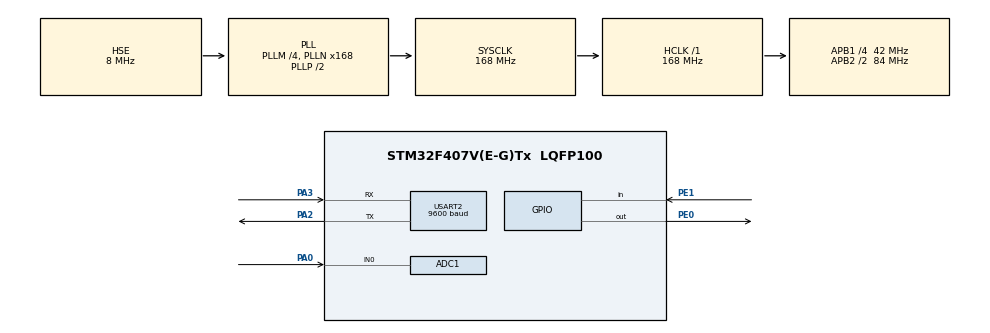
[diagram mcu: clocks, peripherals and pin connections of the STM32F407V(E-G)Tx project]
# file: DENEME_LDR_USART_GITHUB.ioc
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Mcu.Family=STM32F4
RCC.PLLSourceVirtual=RCC_PLLSOURCE_HSE
PH0-OSC_IN.Signal=RCC_OSC_IN
Dma.ADC1.0.Instance=DMA2_Stream0
RCC.CortexFreq_Value=168000000
ADC1.Rank-0\#ChannelRegularConversion=1
ADC1.ContinuousConvMode=ENABLE
RCC.APB1CLKDivider=RCC_HCLK_DIV4
USART2.BaudRate=9600
RCC.SYSCLKSource=RCC_SYSCLKSOURCE_PLLCLK
ProjectManager.StackSize=0x400
PA0-WKUP.Signal=ADCx_IN0
PA3.Mode=Asynchronous
Dma.ADC1.0.PeriphDataAlignment=DMA_PDATAALIGN_HALFWORD
ProjectManager.TargetToolchain=STM32CubeIDE
Dma.ADC1.0.Mode=DMA_CIRCULAR
RCC.HCLKFreq_Value=168000000
ADC1.Resolution=ADC_RESOLUTION_8B
Dma.ADC1.0.Priority=DMA_PRIORITY_HIGH
RCC.APB2TimFreq_Value=168000000
Dma.ADC1.0.Direction=DMA_PERIPH_TO_MEMORY
ADC1.InjNumberOfConversion=0
NVIC.DMA2_Stream0_IRQn=true\:0\:0\:false\:false\:true\:false\:true
PE1.Signal=GPIO_Input
RCC.LSE_VALUE=32768
Dma.ADC1.0.MemDataAlignment=DMA_MDATAALIGN_HALFWORD
RCC.AHBFreq_Value=168000000
PH0-OSC_IN.Mode=HSE-External-Oscillator
ADC1.Channel-0\#ChannelRegularConversion=ADC_CHANNEL_0
RCC.HSE_VALUE=8000000
ADC1.ScanConvMode=DISABLE
board=custom
RCC.VCOOutputFreq_Value=336000000
RCC.APB2Freq_Value=84000000
Dma.ADC1.0.PeriphInc=DMA_PINC_DISABLE
PH1-OSC_OUT.Signal=RCC_OSC_OUT
SH.ADCx_IN0.0=ADC1_IN0,IN0
ADC1.DMAContinuousRequests=ENABLE
PE0.Signal=GPIO_Output
Mcu.Name=STM32F407V(E-G)Tx
ADC1.SamplingTime-0\#ChannelRegularConversion=ADC_SAMPLETIME_112CYCLES
PA2.Signal=USART2_TX
PH1-OSC_OUT.Mode=HSE-External-Oscillator
RCC.48MHZClocksFreq_Value=84000000
RCC.SYSCLKFreq_VALUE=168000000
Mcu.Package=LQFP100
ADC1.master=1
USART2.VirtualMode=VM_ASYNC
Dma.ADC1.0.MemInc=DMA_MINC_ENABLE
ProjectManager.HeapSize=0x200
RCC.HSI_VALUE=16000000
NVIC.PriorityGroup=NVIC_PRIORITYGROUP_4
ADC1.NbrOfConversionFlag=1
RCC.APB2CLKDivider=RCC_HCLK_DIV2
RCC.PLLM=4
RCC.PLLN=168
RCC.APB1TimFreq_Value=84000000
PA2.Mode=Asynchronous
Dma.ADC1.0.FIFOMode=DMA_FIFOMODE_DISABLE
RCC.APB1Freq_Value=42000000
Dma.Request0=ADC1
PA3.Signal=USART2_RX

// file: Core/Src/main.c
/* USER CODE BEGIN Header */
/**
  ******************************************************************************
  * @file           : main.c
  * @brief          : Main program body
  ******************************************************************************
  * @attention
  *
  * <h2><center>&copy; Copyright (c) 2021 STMicroelectronics.
  * All rights reserved.</center></h2>
  *
  * This software component is licensed by ST under BSD 3-Clause license,
  * the "License"; You may not use this file except in compliance with the
  * License. You may obtain a copy of the License at:
  *                        opensource.org/licenses/BSD-3-Clause
  *
  ******************************************************************************
  */
/* USER CODE END Header */
#include "main.h"

/* USER CODE BEGIN Includes */
#include <stdbool.h>
#include <stdio.h>
/* USER CODE END Includes */

ADC_HandleTypeDef hadc1;
DMA_HandleTypeDef hdma_adc1;

UART_HandleTypeDef huart2;

/* USER CODE BEGIN PV */
char tx_data[100];
uint8_t adc_deger;
uint8_t ldr_ch0 ;
bool durum = true ;

/* USER CODE END PV */

void SystemClock_Config(void);
static void MX_GPIO_Init(void);
static void MX_DMA_Init(void);
static void MX_ADC1_Init(void);
static void MX_USART2_UART_Init(void);

/* USER CODE BEGIN 0 */
void kontrol()
{
	if(ldr_ch0 < 40)
	{
		if (durum)
		{
			durum = false ;
			HAL_UART_Transmit(&huart2, (uint8_t *)tx_data, sprintf(tx_data,"Ortam karanlik.Led yakmak icin butona basiniz\n\n"), 100);
		}
		if (HAL_GPIO_ReadPin(GPIOE, GPIO_PIN_1))
		{
			while(HAL_GPIO_ReadPin(GPIOE, GPIO_PIN_1));
			HAL_Delay(200);
			durum = false ;
			HAL_GPIO_WritePin(GPIOE, GPIO_PIN_0, GPIO_PIN_SET);
			HAL_UART_Transmit(&huart2, (uint8_t *)tx_data,sprintf(tx_data,"Led yandi\n\n"), 100);
		}
	}
	else
	{
		if(!durum)
		{
			HAL_GPIO_WritePin(GPIOE, GPIO_PIN_0, GPIO_PIN_RESET);
			durum = true ;
			HAL_UART_Transmit(&huart2, (uint8_t *)tx_data, sprintf(tx_data,"Ortam aydinlik oldugu icin led kapandi.\n\n"), 100);
			HAL_GPIO_WritePin(GPIOE, GPIO_PIN_0, GPIO_PIN_RESET);
		}
	}
}
/* USER CODE END 0 */

int main(void)
{

  /* MCU Configuration--------------------------------------------------------*/

  /* Reset of all peripherals, Initializes the Flash interface and the Systick. */
  HAL_Init();

  /* Configure the system clock */
  SystemClock_Config();

  /* Initialize all configured peripherals */
  MX_GPIO_Init();
  MX_DMA_Init();
  MX_ADC1_Init();
  MX_USART2_UART_Init();
  /* USER CODE BEGIN 2 */
  HAL_ADC_Start_DMA(&hadc1, (uint32_t *)&adc_deger, 1); //ADC okumayı DMA yı kullanarak yaptım.
  /* USER CODE END 2 */

  /* Infinite loop */
  while (1)
  {

    /* USER CODE BEGIN 3 */
	  ldr_ch0 = adc_deger ;
	  kontrol();
	  //Projenin Videosu -------> https://youtu.be/apKw5WT4y-0

  }
  /* USER CODE END 3 */
}

void SystemClock_Config(void)
{
  RCC_OscInitTypeDef RCC_OscInitStruct = {0};
  RCC_ClkInitTypeDef RCC_ClkInitStruct = {0};

  /** Configure the main internal regulator output voltage
  */
  __HAL_RCC_PWR_CLK_ENABLE();
  __HAL_PWR_VOLTAGESCALING_CONFIG(PWR_REGULATOR_VOLTAGE_SCALE1);
  /** Initializes the RCC Oscillators according to the specified parameters
  * in the RCC_OscInitTypeDef structure.
  */
  RCC_OscInitStruct.OscillatorType = RCC_OSCILLATORTYPE_HSE;
  RCC_OscInitStruct.HSEState = RCC_HSE_ON;
  RCC_OscInitStruct.PLL.PLLState = RCC_PLL_ON;
  RCC_OscInitStruct.PLL.PLLSource = RCC_PLLSOURCE_HSE;
  RCC_OscInitStruct.PLL.PLLM = 4;
  RCC_OscInitStruct.PLL.PLLN = 168;
  RCC_OscInitStruct.PLL.PLLP = RCC_PLLP_DIV2;
  RCC_OscInitStruct.PLL.PLLQ = 4;
  if (HAL_RCC_OscConfig(&RCC_OscInitStruct) != HAL_OK)
  {
    Error_Handler();
  }
  /** Initializes the CPU, AHB and APB buses clocks
  */
  RCC_ClkInitStruct.ClockType = RCC_CLOCKTYPE_HCLK|RCC_CLOCKTYPE_SYSCLK
                              |RCC_CLOCKTYPE_PCLK1|RCC_CLOCKTYPE_PCLK2;
  RCC_ClkInitStruct.SYSCLKSource = RCC_SYSCLKSOURCE_PLLCLK;
  RCC_ClkInitStruct.AHBCLKDivider = RCC_SYSCLK_DIV1;
  RCC_ClkInitStruct.APB1CLKDivider = RCC_HCLK_DIV4;
  RCC_ClkInitStruct.APB2CLKDivider = RCC_HCLK_DIV2;

  if (HAL_RCC_ClockConfig(&RCC_ClkInitStruct, FLASH_LATENCY_5) != HAL_OK)
  {
    Error_Handler();
  }
}

static void MX_ADC1_Init(void)
{

  ADC_ChannelConfTypeDef sConfig = {0};

  /** Configure the global features of the ADC (Clock, Resolution, Data Alignment and number of conversion)
  */
  hadc1.Instance = ADC1;
  hadc1.Init.ClockPrescaler = ADC_CLOCK_SYNC_PCLK_DIV4;
  hadc1.Init.Resolution = ADC_RESOLUTION_8B;
  hadc1.Init.ScanConvMode = DISABLE;
  hadc1.Init.ContinuousConvMode = ENABLE;
  hadc1.Init.DiscontinuousConvMode = DISABLE;
  hadc1.Init.ExternalTrigConvEdge = ADC_EXTERNALTRIGCONVEDGE_NONE;
  hadc1.Init.ExternalTrigConv = ADC_SOFTWARE_START;
  hadc1.Init.DataAlign = ADC_DATAALIGN_RIGHT;
  hadc1.Init.NbrOfConversion = 1;
  hadc1.Init.DMAContinuousRequests = ENABLE;
  hadc1.Init.EOCSelection = ADC_EOC_SINGLE_CONV;
  if (HAL_ADC_Init(&hadc1) != HAL_OK)
  {
    Error_Handler();
  }
  /** Configure for the selected ADC regular channel its corresponding rank in the sequencer and its sample time.
  */
  sConfig.Channel = ADC_CHANNEL_0;
  sConfig.Rank = 1;
  sConfig.SamplingTime = ADC_SAMPLETIME_112CYCLES;
  if (HAL_ADC_ConfigChannel(&hadc1, &sConfig) != HAL_OK)
  {
    Error_Handler();
  }

}

static void MX_USART2_UART_Init(void)
{

  huart2.Instance = USART2;
  huart2.Init.BaudRate = 9600;
  huart2.Init.WordLength = UART_WORDLENGTH_8B;
  huart2.Init.StopBits = UART_STOPBITS_1;
  huart2.Init.Parity = UART_PARITY_NONE;
  huart2.Init.Mode = UART_MODE_TX_RX;
  huart2.Init.HwFlowCtl = UART_HWCONTROL_NONE;
  huart2.Init.OverSampling = UART_OVERSAMPLING_16;
  if (HAL_UART_Init(&huart2) != HAL_OK)
  {
    Error_Handler();
  }

}

static void MX_DMA_Init(void)
{

  /* DMA controller clock enable */
  __HAL_RCC_DMA2_CLK_ENABLE();

  /* DMA interrupt init */
  /* DMA2_Stream0_IRQn interrupt configuration */
  HAL_NVIC_SetPriority(DMA2_Stream0_IRQn, 0, 0);
  HAL_NVIC_EnableIRQ(DMA2_Stream0_IRQn);

}

static void MX_GPIO_Init(void)
{
  GPIO_InitTypeDef GPIO_InitStruct = {0};

  /* GPIO Ports Clock Enable */
  __HAL_RCC_GPIOH_CLK_ENABLE();
  __HAL_RCC_GPIOA_CLK_ENABLE();
  __HAL_RCC_GPIOE_CLK_ENABLE();

  /*Configure GPIO pin Output Level */
  HAL_GPIO_WritePin(GPIOE, GPIO_PIN_0, GPIO_PIN_RESET);

  /*Configure GPIO pin : PE0 */
  GPIO_InitStruct.Pin = GPIO_PIN_0;
  GPIO_InitStruct.Mode = GPIO_MODE_OUTPUT_PP;
  GPIO_InitStruct.Pull = GPIO_NOPULL;
  GPIO_InitStruct.Speed = GPIO_SPEED_FREQ_LOW;
  HAL_GPIO_Init(GPIOE, &GPIO_InitStruct);

  /*Configure GPIO pin : PE1 */
  GPIO_InitStruct.Pin = GPIO_PIN_1;
  GPIO_InitStruct.Mode = GPIO_MODE_INPUT;
  GPIO_InitStruct.Pull = GPIO_NOPULL;
  HAL_GPIO_Init(GPIOE, &GPIO_InitStruct);

}

void Error_Handler(void)
{
  __disable_irq();
  while (1)
  {
  }
}

/************************ (C) COPYRIGHT STMicroelectronics *****END OF FILE****/
